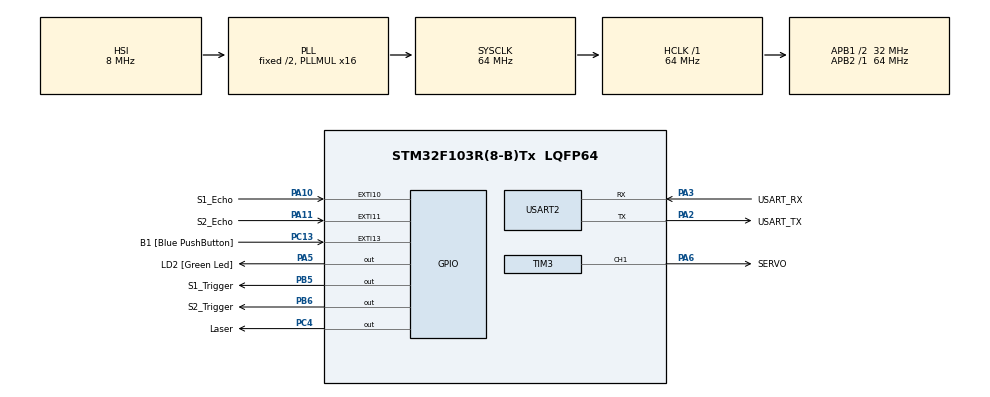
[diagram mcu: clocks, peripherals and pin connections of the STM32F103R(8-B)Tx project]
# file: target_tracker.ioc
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Dma.Request0=USART2_TX
Dma.USART2_TX.0.Direction=DMA_MEMORY_TO_PERIPH
Dma.USART2_TX.0.Instance=DMA1_Channel7
Dma.USART2_TX.0.MemDataAlignment=DMA_MDATAALIGN_BYTE
Dma.USART2_TX.0.MemInc=DMA_MINC_ENABLE
Dma.USART2_TX.0.Mode=DMA_NORMAL
Dma.USART2_TX.0.PeriphDataAlignment=DMA_PDATAALIGN_BYTE
Dma.USART2_TX.0.PeriphInc=DMA_PINC_DISABLE
Dma.USART2_TX.0.Priority=DMA_PRIORITY_LOW
Mcu.Family=STM32F1
Mcu.Name=STM32F103R(8-B)Tx
Mcu.Package=LQFP64
NVIC.DMA1_Channel7_IRQn=true\:12\:0\:true\:false\:true\:false\:true\:true
NVIC.EXTI15_10_IRQn=true\:12\:0\:true\:false\:true\:true\:true\:true
NVIC.PriorityGroup=NVIC_PRIORITYGROUP_4
NVIC.TIM1_UP_IRQn=true\:15\:0\:false\:false\:true\:false\:true\:true
NVIC.TimeBase=TIM1_UP_IRQn
NVIC.TimeBaseIP=TIM1
PA10.GPIO_Label=S1_Echo
PA10.GPIO_ModeDefaultEXTI=GPIO_MODE_IT_RISING_FALLING
PA10.GPIO_PuPd=GPIO_PULLDOWN
PA10.Signal=GPXTI10
PA11.GPIO_Label=S2_Echo
PA11.GPIO_ModeDefaultEXTI=GPIO_MODE_IT_RISING_FALLING
PA11.GPIO_PuPd=GPIO_PULLDOWN
PA11.Signal=GPXTI11
PA13.GPIO_Label=TMS
PA13.Mode=Serial_Wire
PA13.Signal=SYS_JTMS-SWDIO
PA14.GPIO_Label=TCK
PA14.Mode=Serial_Wire
PA14.Signal=SYS_JTCK-SWCLK
PA2.GPIO_Label=USART_TX
PA2.GPIO_Mode=GPIO_MODE_AF_PP
PA2.GPIO_PuPd=GPIO_NOPULL
PA2.GPIO_Speed=GPIO_SPEED_FREQ_LOW
PA2.Mode=Asynchronous
PA2.Signal=USART2_TX
PA3.GPIO_Label=USART_RX
PA3.GPIO_Mode=GPIO_MODE_AF_PP
PA3.GPIO_PuPd=GPIO_NOPULL
PA3.GPIO_Speed=GPIO_SPEED_FREQ_LOW
PA3.Mode=Asynchronous
PA3.Signal=USART2_RX
PA5.GPIO_Label=LD2 [Green Led]
PA5.GPIO_ModeDefaultOutputPP=GPIO_MODE_OUTPUT_PP
PA5.GPIO_PuPd=GPIO_NOPULL
PA5.GPIO_Speed=GPIO_SPEED_FREQ_LOW
PA5.Signal=GPIO_Output
PA6.GPIO_Label=SERVO
PA6.Signal=S_TIM3_CH1
PB3.GPIO_Label=SWO
PB3.Signal=SYS_JTDO-TRACESWO
PB5.GPIO_Label=S1_Trigger
PB5.Signal=GPIO_Output
PB6.GPIO_Label=S2_Trigger
PB6.Signal=GPIO_Output
PC13-TAMPER-RTC.GPIO_Label=B1 [Blue PushButton]
PC13-TAMPER-RTC.GPIO_ModeDefaultEXTI=GPIO_MODE_IT_FALLING
PC13-TAMPER-RTC.GPIO_PuPd=GPIO_NOPULL
PC13-TAMPER-RTC.Signal=GPXTI13
PC14-OSC32_IN.Signal=RCC_OSC32_IN
PC15-OSC32_OUT.Signal=RCC_OSC32_OUT
PC4.GPIO_Label=Laser
PC4.Signal=GPIO_Output
PD0-OSC_IN.Signal=RCC_OSC_IN
PD1-OSC_OUT.Signal=RCC_OSC_OUT
ProjectManager.HeapSize=0x200
ProjectManager.StackSize=0x400
ProjectManager.TargetToolchain=STM32CubeIDE
RCC.AHBFreq_Value=64000000
RCC.APB1CLKDivider=RCC_HCLK_DIV2
RCC.APB1Freq_Value=32000000
RCC.APB1TimFreq_Value=64000000
RCC.APB2Freq_Value=64000000
RCC.APB2TimFreq_Value=64000000
RCC.HCLKFreq_Value=64000000
RCC.PLLMUL=RCC_PLL_MUL16
RCC.SYSCLKFreq_VALUE=64000000
RCC.SYSCLKSource=RCC_SYSCLKSOURCE_PLLCLK
RCC.USBFreq_Value=64000000
SH.S_TIM3_CH1.0=TIM3_CH1,PWM Generation1 CH1
TIM2.Prescaler=63
TIM2.TIM_MasterSlaveMode=TIM_MASTERSLAVEMODE_DISABLE
TIM3.Channel-PWM\ Generation1\ CH1=TIM_CHANNEL_1
TIM3.Period=19999
TIM3.Prescaler=63
USART2.VirtualMode=VM_ASYNC
VP_SYS_VS_tim1.Mode=TIM1
VP_TIM2_VS_ClockSourceINT.Mode=Internal
VP_TIM4_VS_ClockSourceINT.Mode=Internal
board=NUCLEO-F103RB

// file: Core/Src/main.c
/* USER CODE BEGIN Header */
/**
  ******************************************************************************
  * @file           : main.c
  * @brief          : Main program body
  ******************************************************************************
  * @attention
  *
  * Copyright (c) 2026 STMicroelectronics.
  * All rights reserved.
  *
  * This software is licensed under terms that can be found in the LICENSE file
  * in the root directory of this software component.
  * If no LICENSE file comes with this software, it is provided AS-IS.
  *
  ******************************************************************************
  */
/* USER CODE END Header */
#include "main.h"

/* USER CODE BEGIN Includes */
#include "task_config.h"
#include "motor.h"
/* USER CODE END Includes */

TIM_HandleTypeDef htim2;
TIM_HandleTypeDef htim3;
TIM_HandleTypeDef htim4;

UART_HandleTypeDef huart2;
DMA_HandleTypeDef hdma_usart2_tx;

/* USER CODE BEGIN PV */
#define DWT_CTRL	(*(volatile uint32_t *)0xE0001000)
QueueHandle_t xQueueSensor = NULL;
QueueHandle_t xQueueUART = NULL;
TaskHandle_t xSensorScannerHandle = NULL;
TaskHandle_t xControlHandle = NULL;
TaskHandle_t xUARTHandle = NULL;
TaskHandle_t xTestHandle = NULL;
/* USER CODE END PV */

void SystemClock_Config(void);
static void MX_GPIO_Init(void);
static void MX_DMA_Init(void);
static void MX_TIM2_Init(void);
static void MX_TIM3_Init(void);
static void MX_TIM4_Init(void);
static void MX_USART2_UART_Init(void);
/* USER CODE BEGIN PFP */
extern void vTaskSensorScanner(void* parameters);
extern void vTaskControl(void* parameters);
extern void vTaskUART(void* parameters);
extern void vTaskTest(void* parameters);
/* USER CODE END PFP */

int main(void)
{

  /* USER CODE BEGIN 1 */
	BaseType_t status;
  /* USER CODE END 1 */

  /* MCU Configuration--------------------------------------------------------*/

  /* Reset of all peripherals, Initializes the Flash interface and the Systick. */
  HAL_Init();

  /* Configure the system clock */
  SystemClock_Config();

  /* Initialize all configured peripherals */
  MX_GPIO_Init();
  MX_DMA_Init();
  MX_TIM2_Init();
  MX_TIM3_Init();
  MX_TIM4_Init();
  MX_USART2_UART_Init();
  /* USER CODE BEGIN 2 */
  HAL_TIM_Base_Start(&htim2);

  // CYCCNT counter 활성화
  DWT_CTRL |= (1 << 0);

  Motor_Init(&htim3, TIM_CHANNEL_1);

  // TO-DO ( 큐 크기 어떻게
  // 거리큐
  xQueueSensor = xQueueCreate(1, sizeof(uint16_t) * 2);
  // UART Queue
  xQueueUART = xQueueCreate(1, sizeof(UARTLog_t));

  //systemview 시작
  SEGGER_SYSVIEW_Conf();
  SEGGER_SYSVIEW_Start();

  // Task 생성
  status = xTaskCreate(vTaskSensorScanner, "sensor_task", 110, NULL, 3, &xSensorScannerHandle);
  configASSERT(status == pdTRUE);

  //status = xTaskCreate(vTaskTest, "sensor_task", 250, NULL, 3, &xTestHandle);
  //configASSERT(status == pdTRUE);

  status = xTaskCreate(vTaskControl, "control_task", 117, NULL, 2, &xControlHandle);
  configASSERT(status == pdTRUE);

  status = xTaskCreate(vTaskUART, "uart_task", 188, NULL, 1, &xUARTHandle);
  configASSERT(status == pdTRUE);

  vTaskStartScheduler();

  /* USER CODE END 2 */

  /* Infinite loop */
  while (1)
  {

  }
}

void SystemClock_Config(void)
{
  RCC_OscInitTypeDef RCC_OscInitStruct = {0};
  RCC_ClkInitTypeDef RCC_ClkInitStruct = {0};

  /** Initializes the RCC Oscillators according to the specified parameters
  * in the RCC_OscInitTypeDef structure.
  */
  RCC_OscInitStruct.OscillatorType = RCC_OSCILLATORTYPE_HSI;
  RCC_OscInitStruct.HSIState = RCC_HSI_ON;
  RCC_OscInitStruct.HSICalibrationValue = RCC_HSICALIBRATION_DEFAULT;
  RCC_OscInitStruct.PLL.PLLState = RCC_PLL_ON;
  RCC_OscInitStruct.PLL.PLLSource = RCC_PLLSOURCE_HSI_DIV2;
  RCC_OscInitStruct.PLL.PLLMUL = RCC_PLL_MUL16;
  if (HAL_RCC_OscConfig(&RCC_OscInitStruct) != HAL_OK)
  {
    Error_Handler();
  }

  /** Initializes the CPU, AHB and APB buses clocks
  */
  RCC_ClkInitStruct.ClockType = RCC_CLOCKTYPE_HCLK|RCC_CLOCKTYPE_SYSCLK
                              |RCC_CLOCKTYPE_PCLK1|RCC_CLOCKTYPE_PCLK2;
  RCC_ClkInitStruct.SYSCLKSource = RCC_SYSCLKSOURCE_PLLCLK;
  RCC_ClkInitStruct.AHBCLKDivider = RCC_SYSCLK_DIV1;
  RCC_ClkInitStruct.APB1CLKDivider = RCC_HCLK_DIV2;
  RCC_ClkInitStruct.APB2CLKDivider = RCC_HCLK_DIV1;

  if (HAL_RCC_ClockConfig(&RCC_ClkInitStruct, FLASH_LATENCY_2) != HAL_OK)
  {
    Error_Handler();
  }
}

static void MX_TIM2_Init(void)
{

  TIM_ClockConfigTypeDef sClockSourceConfig = {0};
  TIM_MasterConfigTypeDef sMasterConfig = {0};

  htim2.Instance = TIM2;
  htim2.Init.Prescaler = 63;
  htim2.Init.CounterMode = TIM_COUNTERMODE_UP;
  htim2.Init.Period = 65535;
  htim2.Init.ClockDivision = TIM_CLOCKDIVISION_DIV1;
  htim2.Init.AutoReloadPreload = TIM_AUTORELOAD_PRELOAD_DISABLE;
  if (HAL_TIM_Base_Init(&htim2) != HAL_OK)
  {
    Error_Handler();
  }
  sClockSourceConfig.ClockSource = TIM_CLOCKSOURCE_INTERNAL;
  if (HAL_TIM_ConfigClockSource(&htim2, &sClockSourceConfig) != HAL_OK)
  {
    Error_Handler();
  }
  sMasterConfig.MasterOutputTrigger = TIM_TRGO_RESET;
  sMasterConfig.MasterSlaveMode = TIM_MASTERSLAVEMODE_DISABLE;
  if (HAL_TIMEx_MasterConfigSynchronization(&htim2, &sMasterConfig) != HAL_OK)
  {
    Error_Handler();
  }

}

static void MX_TIM3_Init(void)
{

  TIM_MasterConfigTypeDef sMasterConfig = {0};
  TIM_OC_InitTypeDef sConfigOC = {0};

  htim3.Instance = TIM3;
  htim3.Init.Prescaler = 63;
  htim3.Init.CounterMode = TIM_COUNTERMODE_UP;
  htim3.Init.Period = 19999;
  htim3.Init.ClockDivision = TIM_CLOCKDIVISION_DIV1;
  htim3.Init.AutoReloadPreload = TIM_AUTORELOAD_PRELOAD_DISABLE;
  if (HAL_TIM_PWM_Init(&htim3) != HAL_OK)
  {
    Error_Handler();
  }
  sMasterConfig.MasterOutputTrigger = TIM_TRGO_RESET;
  sMasterConfig.MasterSlaveMode = TIM_MASTERSLAVEMODE_DISABLE;
  if (HAL_TIMEx_MasterConfigSynchronization(&htim3, &sMasterConfig) != HAL_OK)
  {
    Error_Handler();
  }
  sConfigOC.OCMode = TIM_OCMODE_PWM1;
  sConfigOC.Pulse = 0;
  sConfigOC.OCPolarity = TIM_OCPOLARITY_HIGH;
  sConfigOC.OCFastMode = TIM_OCFAST_DISABLE;
  if (HAL_TIM_PWM_ConfigChannel(&htim3, &sConfigOC, TIM_CHANNEL_1) != HAL_OK)
  {
    Error_Handler();
  }
  HAL_TIM_MspPostInit(&htim3);

}

static void MX_TIM4_Init(void)
{

  TIM_ClockConfigTypeDef sClockSourceConfig = {0};
  TIM_MasterConfigTypeDef sMasterConfig = {0};

  htim4.Instance = TIM4;
  htim4.Init.Prescaler = 0;
  htim4.Init.CounterMode = TIM_COUNTERMODE_UP;
  htim4.Init.Period = 65535;
  htim4.Init.ClockDivision = TIM_CLOCKDIVISION_DIV1;
  htim4.Init.AutoReloadPreload = TIM_AUTORELOAD_PRELOAD_DISABLE;
  if (HAL_TIM_Base_Init(&htim4) != HAL_OK)
  {
    Error_Handler();
  }
  sClockSourceConfig.ClockSource = TIM_CLOCKSOURCE_INTERNAL;
  if (HAL_TIM_ConfigClockSource(&htim4, &sClockSourceConfig) != HAL_OK)
  {
    Error_Handler();
  }
  sMasterConfig.MasterOutputTrigger = TIM_TRGO_RESET;
  sMasterConfig.MasterSlaveMode = TIM_MASTERSLAVEMODE_DISABLE;
  if (HAL_TIMEx_MasterConfigSynchronization(&htim4, &sMasterConfig) != HAL_OK)
  {
    Error_Handler();
  }

}

static void MX_USART2_UART_Init(void)
{

  huart2.Instance = USART2;
  huart2.Init.BaudRate = 115200;
  huart2.Init.WordLength = UART_WORDLENGTH_8B;
  huart2.Init.StopBits = UART_STOPBITS_1;
  huart2.Init.Parity = UART_PARITY_NONE;
  huart2.Init.Mode = UART_MODE_TX_RX;
  huart2.Init.HwFlowCtl = UART_HWCONTROL_NONE;
  huart2.Init.OverSampling = UART_OVERSAMPLING_16;
  if (HAL_UART_Init(&huart2) != HAL_OK)
  {
    Error_Handler();
  }

}

static void MX_DMA_Init(void)
{

  /* DMA controller clock enable */
  __HAL_RCC_DMA1_CLK_ENABLE();

  /* DMA interrupt init */
  /* DMA1_Channel7_IRQn interrupt configuration */
  HAL_NVIC_SetPriority(DMA1_Channel7_IRQn, 12, 0);
  HAL_NVIC_EnableIRQ(DMA1_Channel7_IRQn);

}

static void MX_GPIO_Init(void)
{
  GPIO_InitTypeDef GPIO_InitStruct = {0};

  /* GPIO Ports Clock Enable */
  __HAL_RCC_GPIOC_CLK_ENABLE();
  __HAL_RCC_GPIOD_CLK_ENABLE();
  __HAL_RCC_GPIOA_CLK_ENABLE();
  __HAL_RCC_GPIOB_CLK_ENABLE();

  /*Configure GPIO pin Output Level */
  HAL_GPIO_WritePin(LD2_GPIO_Port, LD2_Pin, GPIO_PIN_RESET);

  /*Configure GPIO pin Output Level */
  HAL_GPIO_WritePin(Laser_GPIO_Port, Laser_Pin, GPIO_PIN_RESET);

  /*Configure GPIO pin Output Level */
  HAL_GPIO_WritePin(GPIOB, S1_Trigger_Pin|S2_Trigger_Pin, GPIO_PIN_RESET);

  /*Configure GPIO pin : B1_Pin */
  GPIO_InitStruct.Pin = B1_Pin;
  GPIO_InitStruct.Mode = GPIO_MODE_IT_FALLING;
  GPIO_InitStruct.Pull = GPIO_NOPULL;
  HAL_GPIO_Init(B1_GPIO_Port, &GPIO_InitStruct);

  /*Configure GPIO pin : LD2_Pin */
  GPIO_InitStruct.Pin = LD2_Pin;
  GPIO_InitStruct.Mode = GPIO_MODE_OUTPUT_PP;
  GPIO_InitStruct.Pull = GPIO_NOPULL;
  GPIO_InitStruct.Speed = GPIO_SPEED_FREQ_LOW;
  HAL_GPIO_Init(LD2_GPIO_Port, &GPIO_InitStruct);

  /*Configure GPIO pin : Laser_Pin */
  GPIO_InitStruct.Pin = Laser_Pin;
  GPIO_InitStruct.Mode = GPIO_MODE_OUTPUT_PP;
  GPIO_InitStruct.Pull = GPIO_NOPULL;
  GPIO_InitStruct.Speed = GPIO_SPEED_FREQ_LOW;
  HAL_GPIO_Init(Laser_GPIO_Port, &GPIO_InitStruct);

  /*Configure GPIO pins : S1_Echo_Pin S2_Echo_Pin */
  GPIO_InitStruct.Pin = S1_Echo_Pin|S2_Echo_Pin;
  GPIO_InitStruct.Mode = GPIO_MODE_IT_RISING_FALLING;
  GPIO_InitStruct.Pull = GPIO_PULLDOWN;
  HAL_GPIO_Init(GPIOA, &GPIO_InitStruct);

  /*Configure GPIO pins : S1_Trigger_Pin S2_Trigger_Pin */
  GPIO_InitStruct.Pin = S1_Trigger_Pin|S2_Trigger_Pin;
  GPIO_InitStruct.Mode = GPIO_MODE_OUTPUT_PP;
  GPIO_InitStruct.Pull = GPIO_NOPULL;
  GPIO_InitStruct.Speed = GPIO_SPEED_FREQ_LOW;
  HAL_GPIO_Init(GPIOB, &GPIO_InitStruct);

  /* EXTI interrupt init*/
  HAL_NVIC_SetPriority(EXTI15_10_IRQn, 12, 0);
  HAL_NVIC_EnableIRQ(EXTI15_10_IRQn);

}

/* USER CODE BEGIN 4 */

// Idle Task 마다 WFI 실행 ( 전력 효율 )
void vApplicationIdleHook(void)
{
	__WFI();
}

/* USER CODE END 4 */

void HAL_TIM_PeriodElapsedCallback(TIM_HandleTypeDef *htim)
{
  if (htim->Instance == TIM1)
  {
    HAL_IncTick();
  }
}

void Error_Handler(void)
{
  __disable_irq();
  while (1)
  {
  }
}
